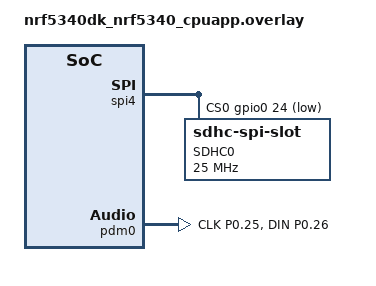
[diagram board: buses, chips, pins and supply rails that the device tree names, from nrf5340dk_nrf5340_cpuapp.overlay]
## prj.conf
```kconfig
CONFIG_DISK_ACCESS=y
CONFIG_LOG=y
CONFIG_FILE_SYSTEM=y
CONFIG_FAT_FILESYSTEM_ELM=y
CONFIG_PRINTK=y
CONFIG_MAIN_STACK_SIZE=2048

CONFIG_DISK_DRIVER_SDMMC=y
CONFIG_SPI=y

# CONFIG_MAIN_STACK_SIZE=2048
CONFIG_SPI_NRFX_RAM_BUFFER_SIZE=512
CONFIG_STDOUT_CONSOLE=y

# DMIC AUDIO
CONFIG_AUDIO=y
CONFIG_AUDIO_DMIC=y
CONFIG_I2S=y
```

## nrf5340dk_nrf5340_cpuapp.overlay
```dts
&spi4 {
	status = "okay";
	cs-gpios = <&gpio0 24 GPIO_ACTIVE_LOW>; //<&gpio1 4 GPIO_ACTIVE_LOW>;
	sdhc0: sdhc@0 {
		compatible = "zephyr,sdhc-spi-slot";
		reg = <0>;
		status = "okay";
		mmc{
			compatible = "zephyr,sdmmc-disk";
			status = "okay";
		};
		label = "SDHC0";
		spi-max-frequency = <25000000>;
	};
};

// Audio ---------------------
&clock {
	hfclkaudio-frequency = <12288000>;
};

&pinctrl {
	pdm0_default_alt: pdm0_default_alt {
		group1 {
			psels = <NRF_PSEL(PDM_CLK, 0, 25)>,
				<NRF_PSEL(PDM_DIN, 0, 26)>;
		};
	};
};

dmic_dev: &pdm0 {
	status = "okay";
	pinctrl-0 = <&pdm0_default_alt>;
	pinctrl-names = "default";
	clock-source = "ACLK";
};
```

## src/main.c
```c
/*
 * Copyright (c) 2019 Tavish Naruka <tavishnaruka@gmail.com>
 *
 * SPDX-License-Identifier: Apache-2.0
 * @ARNAV KHARBANDA
 * @VINAY YADAV
 */

/* Sample which uses the filesystem API and SDHC driver */

#include <zephyr/zephyr.h>
#include <zephyr/device.h>
#include <zephyr/storage/disk_access.h>
#include <zephyr/logging/log.h>
#include <zephyr/fs/fs.h>
#include <ff.h>

// For audio
#include <string.h>
#include <zephyr/kernel.h>
#include <zephyr/sys/printk.h>
#include <zephyr/audio/dmic.h>

LOG_MODULE_REGISTER(main);

// Audio params -----------------------------------

// #define PCM_OUTPUT_IN_ASCII		1

#define AUDIO_FREQ 16000
#define CHAN_SIZE 16
#define PCM_BLK_SIZE_MS ((AUDIO_FREQ / 1000) * sizeof(int16_t))

#define READ_TIMEOUT_MS 2000

// 5 seconds
#define NUM_MS 1000

// added some extra blocks: 2 for safety
K_MEM_SLAB_DEFINE(rx_mem_slab, PCM_BLK_SIZE_MS, NUM_MS + 2, 1);

void *rx_block[NUM_MS];
size_t rx_size = PCM_BLK_SIZE_MS;

// SD params -----------------------------------
static int lsdir(const char *path);

static FATFS fat_fs;
/* mounting info */
static struct fs_mount_t mp = {
	.type = FS_FATFS,
	.fs_data = &fat_fs,
};

/*
 *  Note the fatfs library is able to mount only strings inside _VOLUME_STRS
 *  in ffconf.h
 */
static const char *disk_mount_pt = "/SD:";

void main(void)
{
	// Audio ------------------
	int i;
	uint32_t ms;
	int ret;

	const struct device *const mic_dev = DEVICE_DT_GET(DT_NODELABEL(dmic_dev));

	if (!device_is_ready(mic_dev))
	{
		LOG_ERR("%s: device not ready.\n", mic_dev->name);
		return 0;
	}

	struct pcm_stream_cfg stream = {
		.pcm_width = CHAN_SIZE,
		.mem_slab = &rx_mem_slab,
	};

	struct dmic_cfg cfg = {
		.io = {
			/* These fields can be used to limit the PDM clock
			 * configurations that the driver is allowed to use
			 * to those supported by the microphone.
			 */
			.min_pdm_clk_freq = 1000000,
			.max_pdm_clk_freq = 3500000,
			.min_pdm_clk_dc = 40,
			.max_pdm_clk_dc = 60,
		},
		.streams = &stream,
		.channel = {
			.req_num_streams = 1,
		},
	};

	cfg.channel.req_num_chan = 1;
	cfg.channel.req_chan_map_lo =
		dmic_build_channel_map(0, 0, PDM_CHAN_LEFT);
	cfg.streams[0].pcm_rate = AUDIO_FREQ;
	cfg.streams[0].block_size = PCM_BLK_SIZE_MS;

	ret = dmic_configure(mic_dev, &cfg);
	if (ret < 0)
	{
		LOG_ERR("microphone configuration error\n");
		return 0;
	}
	else
	{
		LOG_INF("microphone configuration success\n");
	}
	// ------------------

	/* raw disk i/o */
	do
	{
		static const char *disk_pdrv = "SD";
		uint64_t memory_size_mb;
		uint32_t block_count;
		uint32_t block_size;

		if (disk_access_init(disk_pdrv) != 0)
		{
			LOG_ERR("Storage init ERROR!");
			break;
		}

		if (disk_access_ioctl(disk_pdrv,
							  DISK_IOCTL_GET_SECTOR_COUNT, &block_count))
		{
			LOG_ERR("Unable to get sector count");
			break;
		}
		LOG_INF("Block count %u", block_count);

		if (disk_access_ioctl(disk_pdrv,
							  DISK_IOCTL_GET_SECTOR_SIZE, &block_size))
		{
			LOG_ERR("Unable to get sector size");
			break;
		}
		printk("Sector size %u\n", block_size);

		memory_size_mb = (uint64_t)block_count * block_size;
		printk("Memory Size(MB) %u\n", (uint32_t)(memory_size_mb >> 20));
	} while (0);

	mp.mnt_point = disk_mount_pt;

	int res = fs_mount(&mp);

	if (res == FR_OK)
	{
		printk("Disk mounted.\n");
		lsdir(disk_mount_pt);
	}
	else
	{
		printk("Error mounting disk.\n");
	}

	// Audio get data ------------------
	ret = dmic_trigger(mic_dev, DMIC_TRIGGER_START);
	if (ret < 0)
	{
		LOG_ERR("microphone start trigger error\n");
		return 0;
	}
	else
	{
		LOG_INF("microphone start trigger success\n");
	}

	/* Acquire microphone audio */
	printf("Recording...\n");
	for (ms = 0; ms < NUM_MS; ms++)
	{
		ret = dmic_read(mic_dev, 0, &rx_block[ms], &rx_size, READ_TIMEOUT_MS);
		if (ret < 0)
		{
			LOG_ERR("%d microphone audio read error %p %u.\n", ms, rx_block[ms], rx_size);
			return 0;
		}
		else
		{
			// printk("\rIn progress %d", (ms/NUM_MS)*100);
			if ((((ms*100)/NUM_MS)) % 10 == 0)
			{
				printf("#");
			}
		}
	}

	printf("\n\n");

	ret = dmic_trigger(mic_dev, DMIC_TRIGGER_STOP);
	if (ret < 0)
	{
		LOG_ERR("microphone stop trigger error\n");
		return 0;
	}
	else
	{
		LOG_INF("microphone stop trigger success\n");
	}
	// ------------------------------------------

	// sleep for 2 second
	k_sleep(K_MSEC(2000));

	printk("Attempting to write to file...\n");
	{
		char filename[30];
		int write_index = 8888;

		struct fs_file_t filep;
		size_t bytes_written;

		fs_file_t_init(&filep);

		sprintf(&filename, "/SD:/%d_01.raw", write_index);
		fs_unlink(filename);

		res = fs_open(&filep, filename, FS_O_CREATE | FS_O_WRITE | FS_O_APPEND);
		if (res)
		{
			printk("Error opening file %s [%d]\n", filename, res);
			return;
		}
		else
		{
			printk("File %s opened successfully\n", filename);
		}

		// write in chunks of 50ms
		for (i = 0; i < NUM_MS; i++)
		{
			uint32_t *pcm_out = rx_block[i];
			for (int j = 0; j < rx_size / 4; j++)
			{
				// printk("Writing 0x%8x, \n", pcm_out[j]);

				res = fs_write(&filep, &pcm_out[j], sizeof(uint32_t));
				if (res < 0)
				{
					printk("Error writing file [%d]\n", res);
				}
				else
				{
					printk("%d bytes written to file\n", res);
				}
			}
		}

		res = fs_close(&filep);
		if (res < 0)
		{
			printk("%d %d", res, -ENOTSUP);
			printk("Error closing file [%d]\n", res);
			lsdir(disk_mount_pt);
		}
	}

	k_sleep(K_MSEC(2000));

#ifdef PCM_OUTPUT_IN_ASCII
	printk("-- start\n");
	int j;

	for (i = 0; i < NUM_MS; i++)
	{
		uint16_t *pcm_out = rx_block[i];

		for (j = 0; j < rx_size / 2; j++)
		{
			printk("0x%04x, \n", pcm_out[j]);
			k_sleep(K_MSEC(1));
		}
		printk("-- mid\n");
	}
	printk("-- end\n");
#endif

	// unmount the disk
	// fs_unmount(&mp);

	while (1)
	{
		k_sleep(K_MSEC(1000));
	}
}

static int lsdir(const char *path)
{
	int res;
	struct fs_dir_t dirp;
	static struct fs_dirent entry;

	fs_dir_t_init(&dirp);

	/* Verify fs_opendir() */
	res = fs_opendir(&dirp, path);
	if (res)
	{
		printk("Error opening dir %s [%d]\n", path, res);
		return res;
	}

	printk("\nListing dir %s ...\n", path);
	for (;;)
	{
		/* Verify fs_readdir() */
		res = fs_readdir(&dirp, &entry);

		/* entry.name[0] == 0 means end-of-dir */
		if (res || entry.name[0] == 0)
		{
			break;
		}

		if (entry.type == FS_DIR_ENTRY_DIR)
		{
			printk("[DIR ] %s\n", entry.name);
		}
		else
		{
			printk("[FILE] %s (size = %zu)\n",
				   entry.name, entry.size);
		}
	}

	/* Verify fs_closedir() */
	fs_closedir(&dirp);

	return res;
}
```
